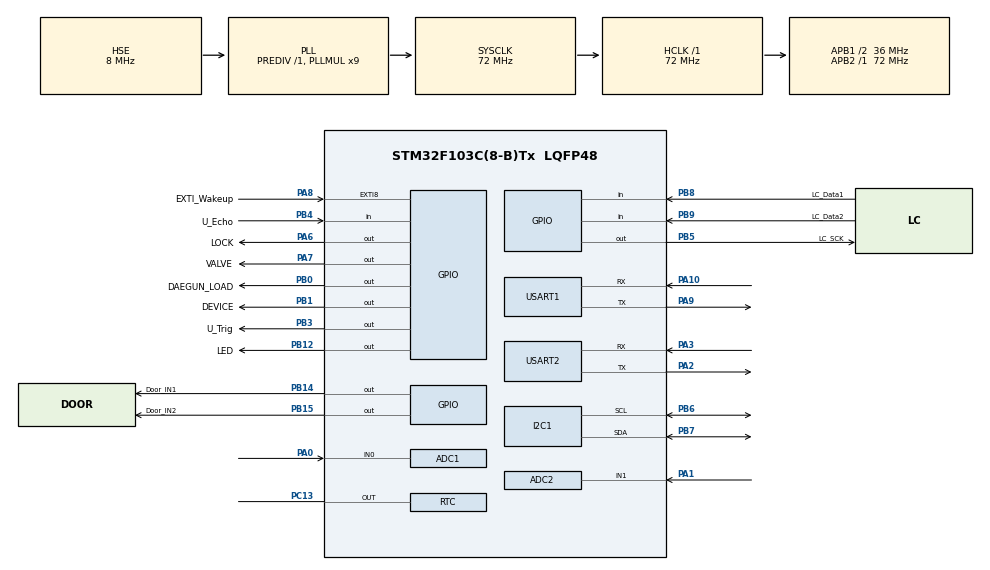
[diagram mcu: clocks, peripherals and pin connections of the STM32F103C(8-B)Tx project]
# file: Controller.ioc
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ADC1.Channel-0\#ChannelRegularConversion=ADC_CHANNEL_0
ADC1.NbrOfConversionFlag=1
ADC1.Rank-0\#ChannelRegularConversion=1
ADC1.SamplingTime-0\#ChannelRegularConversion=ADC_SAMPLETIME_1CYCLE_5
ADC1.master=1
ADC2.Channel-0\#ChannelRegularConversion=ADC_CHANNEL_1
ADC2.NbrOfConversionFlag=1
ADC2.Rank-0\#ChannelRegularConversion=1
ADC2.SamplingTime-0\#ChannelRegularConversion=ADC_SAMPLETIME_1CYCLE_5
I2C1.I2C_Mode=I2C_Fast
Mcu.Family=STM32F1
Mcu.Name=STM32F103C(8-B)Tx
Mcu.Package=LQFP48
NVIC.EXTI9_5_IRQn=true\:0\:0\:false\:false\:true\:true\:true\:true
NVIC.PriorityGroup=NVIC_PRIORITYGROUP_4
NVIC.RTC_Alarm_IRQn=true\:0\:0\:false\:false\:true\:true\:true\:true
NVIC.RTC_IRQn=true\:0\:0\:false\:false\:true\:true\:true\:true
NVIC.USART1_IRQn=true\:0\:0\:false\:false\:true\:true\:true\:true
NVIC.USART2_IRQn=true\:0\:0\:false\:false\:true\:true\:true\:true
PA0-WKUP.Signal=ADCx_IN0
PA1.Signal=ADCx_IN1
PA10.Mode=Asynchronous
PA10.Signal=USART1_RX
PA13.Mode=Serial_Wire
PA13.Signal=SYS_JTMS-SWDIO
PA14.Mode=Serial_Wire
PA14.Signal=SYS_JTCK-SWCLK
PA2.Mode=Asynchronous
PA2.Signal=USART2_TX
PA3.Mode=Asynchronous
PA3.Signal=USART2_RX
PA6.GPIO_Label=LOCK
PA6.GPIO_ModeDefaultOutputPP=GPIO_MODE_OUTPUT_PP
PA6.GPIO_PuPd=GPIO_NOPULL
PA6.PinState=GPIO_PIN_RESET
PA6.Signal=GPIO_Output
PA7.GPIO_Label=VALVE
PA7.GPIO_ModeDefaultOutputPP=GPIO_MODE_OUTPUT_PP
PA7.GPIO_PuPd=GPIO_NOPULL
PA7.PinState=GPIO_PIN_RESET
PA7.Signal=GPIO_Output
PA8.GPIO_Label=EXTI_Wakeup
PA8.Signal=GPXTI8
PA9.Mode=Asynchronous
PA9.Signal=USART1_TX
PB0.GPIO_Label=DAEGUN_LOAD
PB0.GPIO_ModeDefaultOutputPP=GPIO_MODE_OUTPUT_OD
PB0.GPIO_PuPd=GPIO_NOPULL
PB0.PinState=GPIO_PIN_SET
PB0.Signal=GPIO_Output
PB1.GPIO_Label=DEVICE
PB1.GPIO_ModeDefaultOutputPP=GPIO_MODE_OUTPUT_OD
PB1.GPIO_PuPd=GPIO_PULLUP
PB1.PinState=GPIO_PIN_RESET
PB1.Signal=GPIO_Output
PB12.GPIO_Label=LED
PB12.Signal=GPIO_Output
PB14.GPIO_Label=Door_IN1
PB14.Signal=GPIO_Output
PB15.GPIO_Label=Door_IN2
PB15.Signal=GPIO_Output
PB3.GPIO_Label=U_Trig
PB3.Signal=GPIO_Output
PB4.GPIO_Label=U_Echo
PB4.GPIO_PuPd=GPIO_PULLDOWN
PB4.Signal=GPIO_Input
PB5.GPIO_Label=LC_SCK
PB5.Signal=GPIO_Output
PB6.Mode=I2C
PB6.Signal=I2C1_SCL
PB7.Mode=I2C
PB7.Signal=I2C1_SDA
PB8.GPIO_Label=LC_Data1
PB8.GPIO_PuPd=GPIO_PULLUP
PB8.Signal=GPIO_Input
PB9.GPIO_Label=LC_Data2
PB9.GPIO_PuPd=GPIO_PULLUP
PB9.Signal=GPIO_Input
PC13-TAMPER-RTC.Mode=RTC OUT
PC13-TAMPER-RTC.Signal=RTC_OUT
PC14-OSC32_IN.Mode=LSE-External-Oscillator
PC14-OSC32_IN.Signal=RCC_OSC32_IN
PC15-OSC32_OUT.Mode=LSE-External-Oscillator
PC15-OSC32_OUT.Signal=RCC_OSC32_OUT
PD0-OSC_IN.Mode=HSE-External-Oscillator
PD0-OSC_IN.Signal=RCC_OSC_IN
PD1-OSC_OUT.Mode=HSE-External-Oscillator
PD1-OSC_OUT.Signal=RCC_OSC_OUT
ProjectManager.HeapSize=0x200
ProjectManager.StackSize=0x400
ProjectManager.TargetToolchain=STM32CubeIDE
RCC.ADCPresc=RCC_ADCPCLK2_DIV6
RCC.AHBFreq_Value=72000000
RCC.APB1CLKDivider=RCC_HCLK_DIV2
RCC.APB1Freq_Value=36000000
RCC.APB1TimFreq_Value=72000000
RCC.APB2Freq_Value=72000000
RCC.APB2TimFreq_Value=72000000
RCC.HCLKFreq_Value=72000000
RCC.PLLMUL=RCC_PLL_MUL9
RCC.PLLSourceVirtual=RCC_PLLSOURCE_HSE
RCC.RTCClockSelection=RCC_RTCCLKSOURCE_LSE
RCC.SYSCLKFreq_VALUE=72000000
RCC.SYSCLKSource=RCC_SYSCLKSOURCE_PLLCLK
RCC.USBFreq_Value=48000000
RCC.USBPrescaler=RCC_USBCLKSOURCE_PLL_DIV1_5
RTC.Format=RTC_FORMAT_BIN
RTC.Hours_A-RTC\ OUT=12
SH.ADCx_IN0.0=ADC1_IN0,IN0
SH.ADCx_IN1.0=ADC2_IN1,IN1
TIM1.Period=65535-1
TIM1.Prescaler=72-1
USART1.VirtualMode=VM_ASYNC
USART2.VirtualMode=VM_ASYNC
VP_RTC_VS_RTC_Activate.Mode=RTC_Enabled
VP_RTC_VS_RTC_Calendar.Mode=RTC_Calendar
VP_TIM1_VS_ClockSourceINT.Mode=Internal
board=custom

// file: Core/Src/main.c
/* USER CODE BEGIN Header */
/**
  ******************************************************************************
  * @file           : main.c
  * @brief          : Main program body
  ******************************************************************************
  * @attention
  *
  * Copyright (c) 2025 STMicroelectronics.
  * All rights reserved.
  *
  * This software is licensed under terms that can be found in the LICENSE file
  * in the root directory of this software component.
  * If no LICENSE file comes with this software, it is provided AS-IS.
  *
  ******************************************************************************
  */
/* USER CODE END Header */
#include "main.h"

/* USER CODE BEGIN Includes */
/* CDC set  up */
//#include "usbd_cdc_if.h"
/* USER CODE END Includes */

/* USER CODE BEGIN PTD */

// Receive buffer
RTC_AlarmTypeDef sAlarm = {0};
RTC_TimeTypeDef sTime = {0};

uint8_t LOG_buffer[UART_RX_BUFFER_SIZE];
// Sending buffer
char log_msg[UART_RX_BUFFER_SIZE];
volatile bool LOG_DataValid = false;

//Wake up
volatile bool EXTI_Wakeup = false;
volatile bool Alarm_Wakeup = false;
volatile bool flag_EXTI = false;
//POST PhoneNum
char PhoneNum[20];

//Data SIM, id
const char ID[] = "testmachine";
const char countryDialCode[] = "+84";
const char url_postper[] = "https://api.admin.bi-oil.app/postcontainer";
const char url_identity[] = "https://api.admin.bi-oil.app/identity";
const char url_postuco[] = "https://api.admin.bi-oil.app/postuco";
static char data_PostSimCom[150];

//Data herder
char data_TransmitHeader[100];

//Value water and oil
float volume_water; //(Liter)
float volume_oil;   //(Liter)

//Volume on container and battery
float value_VolContainer; // (%)
float value_Voltage;	  // (V)

float distance_Tof = -1.0f;
float value_LoadCell_open = -1.0f;
float value_LoadCell_close = -1.0f;
float value_LoadCell_real = -1.0f;

float water_weight = -1;
float oil_weight = -1;
float watersensor_value = -1;
float volume_total = -1.0f;
//float volume_WS = -1.0f;
/////
char data_Ok[] = "OK";
char data_Fail[] = "FAIL";
char data_Oil_Water[] = "O1.23W4.56E";
const char* data_Post = "{\"volume\": 123,\"battery\": 456}";

typedef enum {
	HANDSHAKE,
	VALIDATION,
	POST_UCO,
	POST_PER,
	OPEN_INPUT,
	CLOSE_INPUT,
	UNLOCK_DOOR,
	SLEEP,
	ALARM_WAKEUP,
	EXTI_WAKEUP,
	OPEN_VALVE,
	CLOSE_VALVE,
	TURN_OFF,
	TEST_PERCENT,
	TEST_MEASURE,
	TEST_SDCLOSE,
	TEST_SDOPEN,
	SPACE
} Msg_Header;

typedef enum {
	ERR_SIMCOM,
	ERR_ULTRA,
	ERR_TOF,
	ERR_LOADCELL
} Err_Device;

Msg_Header FUNCTION;

//typedef enum {
//	IDLE,			// Run without doing anything and not sleep
//	INIT,			// Initiate peripheral and handshake
//	VALID,			// Check if user is valid or not QR and NUM input, Update number or QR, machine id to the server
//	OPENS,			// Open small door
//	POSTPER,		// Update the container percentage
//	CLOSES,			// Close the door and start the measuring process
//	POSTDATA,		// Update the user id, input amount and machine if to the server
//	SLEEP,			// Sleep allowance and go to sleep
//	ALARM,			// Display update and stop user from using machine
//} command;

/* USER CODE END PTD */

ADC_HandleTypeDef hadc1;
ADC_HandleTypeDef hadc2;

I2C_HandleTypeDef hi2c1;

RTC_HandleTypeDef hrtc;

TIM_HandleTypeDef htim1;

UART_HandleTypeDef huart1;
UART_HandleTypeDef huart2;

void SystemClock_Config(void);
static void MX_GPIO_Init(void);
static void MX_I2C1_Init(void);
static void MX_USART1_UART_Init(void);
static void MX_USART2_UART_Init(void);
static void MX_TIM1_Init(void);
static void MX_ADC1_Init(void);
static void MX_ADC2_Init(void);
static void MX_RTC_Init(void);

/* USER CODE BEGIN 0 */
void CheckHeader(void){
  //echo response for ack
  LOG("[ANS]","ACK");
	if(strstr((char *)LOG_buffer, "[CMD]HANDSHAKE")) {
		FUNCTION = HANDSHAKE;
	}
	else if(strstr((char *)LOG_buffer, "[VALID]") && strstr((char *)LOG_buffer, "ENDSTR")) {
		FUNCTION = VALIDATION;
	}
	else if(strstr((char *)LOG_buffer, "[CMD]OPENS")) {
		FUNCTION = OPEN_INPUT;
	}
	else if(strstr((char *)LOG_buffer, "[CMD]CLOSES")) {
		FUNCTION = CLOSE_INPUT;
	}
	else if(strstr((char *)LOG_buffer, "[CMD]POSTPER")) {
		FUNCTION = POST_PER;
	}
	else if(strstr((char *)LOG_buffer, "[CMD]POSTDATA")){
		FUNCTION = POST_UCO;
	}
	else if(strstr((char *)LOG_buffer, "[CMD]OPENB")) {
		FUNCTION = UNLOCK_DOOR;
	}
	else if(strstr((char *)LOG_buffer, "[CMD]SLEEP")) {
		FUNCTION = SLEEP;
	}
	else if(strstr((char *)LOG_buffer, "[CMD]CLOSEV")) {
		FUNCTION = CLOSE_VALVE;
	}
	else if(strstr((char *)LOG_buffer, "[CMD]OPENV")) {
		FUNCTION = OPEN_VALVE;
	}
	else if(strstr((char *)LOG_buffer, "[CMD]OFF")) {
		FUNCTION = TURN_OFF;
	}////////////////////////////////////////////////////////
	else if(strstr((char *)LOG_buffer, "[TEST]PERCENT")) {
		FUNCTION = TEST_PERCENT;
	}
	else if(strstr((char *)LOG_buffer, "[TEST]MEASURE")) {
		FUNCTION = TEST_MEASURE;
	}
	else if(strstr((char *)LOG_buffer, "[TEST]SDCLOSE")) {
		FUNCTION = TEST_SDCLOSE;
	}
	else if(strstr((char *)LOG_buffer, "[TEST]SDOPEN")) {
		FUNCTION = TEST_SDOPEN;
	}
	LOG_DataValid = false;
}

HAL_StatusTypeDef LOG(const char* header,const char *cmd){
	memset(log_msg,'\0',UART_RX_BUFFER_SIZE);
	strcpy(log_msg, header);
	strcat(log_msg, cmd);
	strcat(log_msg, "#");
	HAL_UART_Transmit(&huart1, (uint8_t*)log_msg, strlen(log_msg), 50);
	// CDC_Transmit_FS((uint8_t *)log_msg, strlen(log_msg));
	return HAL_OK;
}

/* Check command function */
//command CheckCommand(void){
//	//check if the data have some thing
//	if(LOG_DataValid){
//		LOG_DataValid = false;
//		if(strstr((char *)LOG_buffer, "HANDSHAKE")){
//			return INIT;
//		} else if(strstr((char *)LOG_buffer, "[VALID]")){
//			//take out number or QR
//			return VALID;
//		} else if(strstr((char *)LOG_buffer, "OPENS")){
//			return OPENS;
//		} else if(strstr((char *)LOG_buffer, "POSTPER")){
//			return POSTPER;
//		} else if(strstr((char *)LOG_buffer, "CLOSES")){
//			return CLOSES;
//		} else if(strstr((char *)LOG_buffer, "POSTDATA")){
//			return POSTDATA;
//		} else if(strstr((char *)LOG_buffer, "SLEEP")){
//			return SLEEP;
//		}
//	} else return IDLE;
//	//check rtc flag
//}

float VolumeTotal(float h) {
    float R = 12.5;
    float r = 2.0;
    float H_cone = 8.0;
    float H_cylinder = 8.0;
    float H_total = H_cone + H_cylinder;

    if (h < 0 || h > H_total) {
        return -1.0;
    }
    if (h <= H_cone) {
    	float r_h = r + ((R - r) / H_cone) * h;
        return (1.0 / 3.0) * 3.14 * h * (r_h * r_h + r_h * r + r * r);

    } else {
    	float V_cone_full = (1.0 / 3.0) * 3.14 * H_cone * (R * R + R * r + r * r);
    	float h_cylinder_part = h - H_cone;
    	float V_cylinder_part = 3.14 * R * R * h_cylinder_part;
        return (V_cone_full + V_cylinder_part)/1000; //liter unit
    }
}
/* USER CODE END 0 */

int main(void)
{

  /* MCU Configuration--------------------------------------------------------*/

  /* Reset of all peripherals, Initializes the Flash interface and the Systick. */
  HAL_Init();

  /* Configure the system clock */
  SystemClock_Config();

  /* Initialize all configured peripherals */
  MX_GPIO_Init();
  MX_I2C1_Init();
  MX_USART1_UART_Init();
  MX_USART2_UART_Init();
  MX_TIM1_Init();
  MX_ADC1_Init();
  MX_ADC2_Init();
  MX_RTC_Init();
  /* USER CODE BEGIN 2 */
  HAL_UARTEx_ReceiveToIdle_IT(&huart1, LOG_buffer, UART_RX_BUFFER_SIZE);
  HAL_UARTEx_ReceiveToIdle_IT(&huart2, SIM_buffer, UART_RX_BUFFER_SIZE);
  WATER_InitDefault(&hi2c1);     // Water sensor driver init
  //TOF SENSOR
  statInfo_t_VL53L0X distanceStr;
  initVL53L0X(1, &hi2c1);
  uint16_t offset_DistanceTof = VL53L0X_OFFSET(&distanceStr);

  //Ultrasonic
  HAL_TIM_Base_Start(&htim1);

  // Load cellHA
  HX711_t scale1;
  HX711_t scale2;
  float calibration_factor = 200.0f;

  //Voltage
  HAL_ADC_Start(&hadc1);
  HAL_ADC_Start(&hadc2);

  //Setup
  FUNCTION = SPACE;
//  HAL_Delay(3000);
  HAL_GPIO_WritePin(LED_GPIO_Port, LED_Pin, GPIO_PIN_SET); //Turn on led
  HAL_GPIO_WritePin(DEVICE_GPIO_Port, DEVICE_Pin, GPIO_PIN_SET);
  LOG("[DEBUG]","STM32 OK!");
  SIM_Sleep(3000);
  /* USER CODE END 2 */

  /* Infinite loop */
  while (1)
  {

    /* USER CODE BEGIN 3 */
	  if(LOG_DataValid){
//		LOG("[ECHO]",(char*)LOG_buffer);				//Echo message for testing only
		  /* Change the stage when command come in */
		  CheckHeader();
		  switch (FUNCTION) {
			  case HANDSHAKE:
        //for defbug and fail device checking
          uint16_t error_code = 0;
          char error_code_char[10];

				  HAL_GPIO_WritePin(DEVICE_GPIO_Port, DEVICE_Pin, GPIO_PIN_RESET); //Turn on sensor
				  initVL53L0X(1, &hi2c1);
				  HX711_Init(&scale1, LC_Data1_GPIO_Port, LC_Data1_Pin, LC_SCK_GPIO_Port, LC_SCK_Pin, calibration_factor);
				  HX711_Init(&scale2, LC_Data2_GPIO_Port, LC_Data2_Pin, LC_SCK_GPIO_Port, LC_SCK_Pin, calibration_factor);

				  if (SIM_Wakeup(3000) != 0) {
					  error_code += 1;
				  }
				  if (VL53L0X_OFFSET(&distanceStr) == -1.0f) {
					  error_code += 10;
				  }
				  if (Ultra_ReadDistance() == -1.0f) {
					  error_code += 100;
				  }
				  if((Ultra_ReadDistance() <= 20.0) && (Ultra_ReadDistance() >= 0)) {
					  LOG("[ANS]", "FULL");
				  }
				  if ((HX711_Tare(&scale1, 10, 2000) == -1.0f) || (HX711_Tare(&scale2, 10, 2000) == -1.0f)) {
					  error_code += 1000;
				  }
				  if (error_code == 0) {
					  LOG("[ANS]", "OK");
				  }else{
					  snprintf(error_code_char, sizeof(error_code_char), "%d", error_code);

					  LOG("[ANS]", "FAIL");
					  LOG("[DEBUG]", error_code_char);
					  error_code = 0;
				  }

				  SIM_Sleep(3000);
				  FUNCTION = SPACE;
				  break;

			  case VALIDATION:
				  memset(PhoneNum,'\0',20);
				  memset(data_PostSimCom,'\0',sizeof(data_PostSimCom));
				  //Prepare data
				  char* start_PhoneNum = strstr((char *)LOG_buffer, "[VALID]") + 7;
				  char* end_PhoneNum = strstr((char *)LOG_buffer, "ENDSTR");
				  strncpy(PhoneNum, start_PhoneNum, end_PhoneNum - start_PhoneNum);
				  snprintf(data_PostSimCom, sizeof(data_PostSimCom),
						  "{\"phoneNumber\":\"%s\",\"countryDialCode\":\"%s\",\"machineId\":\"%s\"}\r",
						  PhoneNum, countryDialCode, ID);
				  // LOG("DEBUG", data_PostSimCom);
				  //SIM_post
				  if (SIM_Wakeup(3000)){
					  LOG("[ANS]", "FAIL");
				  }
				  if (!SIMCom_Post(data_PostSimCom, url_identity, 5000)) {
					  //LOG("[DEBUG]",(char*)SIM_data);
					  /* User case */
					  // User have  signed in
					  if (strstr((char*)SIM_data, "\"driver\":false")) LOG("[ANS]","OK");
					  // User have not signed in
					  else if (strstr((char*)SIM_data, "\"message\":\"no user found\"")) LOG("[ANS]","REJECT");
//					  /* Driver case */
					  // driver was allow
					  else if (strstr((char*)SIM_data, "\"driver\":true")) LOG("[ANS]", "DRIVER:TRUE");
					  // driver was not allow
					  else if (strstr((char*)SIM_data, "\"message\":\"not permitted\"")) LOG("[ANS]", "DRIVER:FALSE");
					  // User case
					  else LOG("[ANS]", "FAIL");
				  }
				  SIM_Sleep(3000);
				  FUNCTION = SPACE;
				  break;

			  case POST_UCO:
				  memset(data_PostSimCom,'\0',sizeof(data_PostSimCom));
				  //prepare data
				  snprintf(data_PostSimCom, sizeof(data_PostSimCom),
						  "{\"phoneNumber\": \"%s\", \"countryDialCode\": \"%s\", \"machineId\": \"%s\", \"oil\": %.2f, \"water\": %.2f}\r",
						  PhoneNum, countryDialCode, ID, oil_weight, water_weight);
				  // LOG("DEBUG", data_PostSimCom);
				  //SIM_post
				  if (SIM_Wakeup(3000)){
					  LOG("[ANS]", "FAIL");
				  }
				  if(!SIMCom_Post(data_PostSimCom, url_postuco, 5000)) {
					  if (strstr((char *)SIM_data, "true")) {
						  LOG("[ANS]", "OK");
					  }
					  else if (strstr((char *)SIM_data, "false")) {
						  LOG("[ANS]", "REJECT");
					  }
					  else {
						  LOG("[ANS]", "UNDEFINE");
					  }
				  }
				  else {
					  LOG("[ANS]", "FAIL");
				  }
				  SIM_Sleep(3000);
				  FUNCTION = SPACE;
				  break;
			  case POST_PER:
				  memset(data_PostSimCom,'\0',sizeof(data_PostSimCom));
				  //Prepare data
				  value_VolContainer = Ultra_ReadDistance();
				  value_Voltage = Read_Voltage();
				  //Prepare data
				  snprintf(data_PostSimCom, sizeof(data_PostSimCom),
						  "{\"machineId\": \"%s\", \"volume\": %.2f, \"battery\": %.2f}\r",
						  ID, value_VolContainer, value_Voltage);
				  // LOG("DEBUG", data_PostSimCom);
				  //SIM_post
				  if (SIM_Wakeup(3000)){
					  LOG("[ANS]", "FAIL");
				  }
				  if (!SIMCom_Post(data_PostSimCom, url_postper, 5000)) {
					  if (strstr((char *)SIM_data, "true")) {
						  LOG("[ANS]", "OK");
					  }
					  else if (strstr((char *)SIM_data, "false")) {
						  LOG("[ANS]", "REJECT");
					  }
					  else {
						  LOG("[ANS]", "UNDEFINE");
					  }
				  } else {
					  LOG("[ANS]", "FAIL");
				  }
				  SIM_Sleep(3000);
				  FUNCTION = SPACE;
				  break;

			  case OPEN_INPUT:
				  /*Control motor*/
				  HAL_GPIO_WritePin(Door_IN1_GPIO_Port, Door_IN1_Pin, GPIO_PIN_SET);
				  HAL_GPIO_WritePin(Door_IN2_GPIO_Port, Door_IN2_Pin, GPIO_PIN_RESET);
				  /*Close valve*/
				  HAL_GPIO_WritePin(VALVE_GPIO_Port, VALVE_Pin, GPIO_PIN_SET);
				  /*Transmit to header*/
				  value_LoadCell_open  = HX711_Get_CombinedMass(&scale1, &scale2, 10, 2000);
				  LOG("[ANS]", "OK");
				  snprintf(data_TransmitHeader, sizeof(data_TransmitHeader), "value_LoadCell_open = %f", value_LoadCell_open);
				  FUNCTION = SPACE;
				  break;
			  case CLOSE_INPUT:
				  /*Control motor*/
				  HAL_GPIO_WritePin(Door_IN1_GPIO_Port, Door_IN1_Pin, GPIO_PIN_RESET);
				  HAL_GPIO_WritePin(Door_IN2_GPIO_Port, Door_IN2_Pin, GPIO_PIN_SET);

				  /*Take value from sensor*/
				  // load cell and tof sensor
				  distance_Tof = VL53L0X_ReadDistance(&distanceStr, offset_DistanceTof); //(mm)
				  value_LoadCell_close = HX711_Get_CombinedMass(&scale1, &scale2, 10, 2000);
				  // water sensor
				  value_LoadCell_real = value_LoadCell_close - value_LoadCell_open;
				  watersensor_value = WATER_ReadHeightMM(220);   //(mm)
				  water_weight = WATER_ReadLastOn(220);     //last_on index
				  /*Turn off the sensor*/
				  HAL_GPIO_WritePin(DEVICE_GPIO_Port, DEVICE_Pin, GPIO_PIN_SET);
				  /*Calculating*/
//				  volume_WS = VolumeTotal(water_weight*5) + 0.025f;
//				  volume_total = VolumeTotal(16 - (distance_Tof / 10)); //liter unit
//				  volume_oil = (volume_total - value_LoadCell) / 0.085; //l iter unit
//				  volume_water = volume_total - volume_oil;
				  //Transmit to header
				  oil_weight = value_LoadCell_real - water_weight;
				  memset(data_TransmitHeader,'\0',sizeof(data_TransmitHeader));
				  snprintf(data_TransmitHeader, 40, "O%.2fW%.2fE", oil_weight, water_weight);
				  LOG("[ANS]", data_TransmitHeader);
				  // debug for water sensor
//				  if (watersensor_value < 0) {
//					  snprintf(data_TransmitHeader, sizeof(data_TransmitHeader), "WS_Value=%.2f ml", volume_WS);
//					  LOG("[DEBUG]", data_TransmitHeader);
//				  }
				  FUNCTION = SPACE;
				  break;
			  case UNLOCK_DOOR:
          /* unlock big door for driver */
				  HAL_GPIO_WritePin(LOCK_GPIO_Port, LOCK_Pin, GPIO_PIN_SET);
				  HAL_Delay(500);
				  HAL_GPIO_WritePin(LOCK_GPIO_Port, LOCK_Pin, GPIO_PIN_RESET);
				  /*Transmit to header*/
				  LOG("[ANS]", "OK");
				  FUNCTION = SPACE;
				  break;
			  case SLEEP:
				  //Turn off device
				  HAL_GPIO_WritePin(DEVICE_GPIO_Port, DEVICE_Pin, GPIO_PIN_SET);      //Turn off sensor source
				  HAL_GPIO_WritePin(LED_GPIO_Port, LED_Pin, GPIO_PIN_RESET);          //Turn off the led
				  HAL_ADC_DeInit(&hadc1);
				  HAL_ADC_DeInit(&hadc2);

				  HAL_GPIO_DeInit(LOCK_GPIO_Port, LOCK_Pin);
				  HAL_GPIO_DeInit(VALVE_GPIO_Port, VALVE_Pin);
				  HAL_GPIO_DeInit(DAEGUN_LOAD_GPIO_Port, DAEGUN_LOAD_Pin);
				  //HAL_GPIO_DeInit(DEVICE_GPIO_Port, DEVICE_Pin);
				  HAL_GPIO_DeInit(LED_GPIO_Port, LED_Pin);
				  HAL_GPIO_DeInit(Door_IN1_GPIO_Port, Door_IN1_Pin);
				  HAL_GPIO_DeInit(Door_IN2_GPIO_Port, Door_IN2_Pin);
				  HAL_GPIO_DeInit(U_Trig_GPIO_Port, U_Trig_Pin);
				  HAL_GPIO_DeInit(U_Echo_GPIO_Port, U_Echo_Pin);
				  HAL_GPIO_DeInit(LC_SCK_GPIO_Port, LC_SCK_Pin);
				  HAL_GPIO_DeInit(LC_Data1_GPIO_Port, LC_Data1_Pin);
				  HAL_GPIO_DeInit(LC_Data2_GPIO_Port, LC_Data2_Pin);
				  HAL_I2C_DeInit(&hi2c1);
				  //Transmit to header
				  flag_EXTI = true;
				  LOG("[ANS]", "STM_SLEEP");
				  //Sleep
				  HAL_SuspendTick();
				  HAL_PWR_EnterSTOPMode(PWR_LOWPOWERREGULATOR_ON, PWR_STOPENTRY_WFI);
				  /* NEXT WAKEUP START HERE */
				  HAL_ResumeTick();
				  /* Start up peripheral device */
				  SystemClock_Config();
				  MX_USART1_UART_Init();
				  MX_USART2_UART_Init();
				  /* Start uart receive end */
				  HAL_UARTEx_ReceiveToIdle_IT(&huart1, LOG_buffer, UART_RX_BUFFER_SIZE);
				  HAL_UARTEx_ReceiveToIdle_IT(&huart2, SIM_buffer, UART_RX_BUFFER_SIZE);
				  /* Start up communication protocol */
				  MX_ADC1_Init();
				  MX_ADC2_Init();
				  MX_GPIO_Init();
				  MX_I2C1_Init();
				  /* Disable wake up flag */
				  flag_EXTI = false;
				  LOG("[ANS]", "STM_WAKE_UP");
				  HAL_GPIO_WritePin(LED_GPIO_Port, LED_Pin, GPIO_PIN_SET); //Turn on the led
				  break;
			  case ALARM_WAKEUP:
				  uint16_t error_code1 = 0;
				  LOG("[CMD]", "UPDATE");
				  HAL_GPIO_WritePin(DEVICE_GPIO_Port, DEVICE_Pin, GPIO_PIN_RESET); //Turn on sensor

				  initVL53L0X(1, &hi2c1);
				  HX711_Init(&scale1, LC_Data1_GPIO_Port, LC_Data1_Pin, LC_SCK_GPIO_Port, LC_SCK_Pin, calibration_factor);
				  HX711_Init(&scale2, LC_Data2_GPIO_Port, LC_Data2_Pin, LC_SCK_GPIO_Port, LC_SCK_Pin, calibration_factor);

				  if (SIM_Wakeup(3000) != 0) {
					  error_code1 += 1;
				  }
				  if (VL53L0X_OFFSET(&distanceStr) == -1.0f) {
					  error_code1 += 10;
				  }
				  if (Ultra_ReadDistance() == -1.0f) {
					  error_code1 += 100;
				  }
				  if ((HX711_Tare(&scale1, 10, 2000) == -1.0f) || (HX711_Tare(&scale2, 10, 2000) == -1.0f)) {
					  error_code1 += 1000;
				  }
				  //Prepare data
				  value_VolContainer = Ultra_ReadDistance();
				  value_Voltage = Read_Voltage();
				  //Prepare data
				  snprintf(data_PostSimCom, sizeof(data_PostSimCom),
						  "{\"machineId\": \"%s\", \"volume\": %.2f, \"battery\": %.2f}\r",
						  ID, value_VolContainer, value_Voltage);
				  // LOG("DEBUG", data_PostSimCom);
				  //SIM_post
				  if (SIM_Wakeup(3000)){
					  LOG("[ANS]", "FAIL");
				  }
				  if (!SIMCom_Post(data_PostSimCom, url_postper, 5000)) {
					  if (strstr((char *)SIM_data, "true")) {
						  LOG("[ANS]", "OK");
					  }
					  else if (strstr((char *)SIM_data, "false")) {
						  LOG("[ANS]", "REJECT");
					  }
					  else {
						  LOG("[ANS]", "UNDEFINE");
					  }
				  } else {
					  LOG("[ANS]", "FAIL");
				  }
				  SIM_Sleep(3000);
				  LOG("[ANS]", "DONE");
				  FUNCTION = SLEEP;
				  break;
			  case EXTI_WAKEUP:
				  LOG("[ANS]", "EXTI_WAKEUP");
				  FUNCTION = SPACE;
				  break;
			  case CLOSE_VALVE:
				  LOG("[ANS]", "CLOSE_VALVE");
				  HAL_GPIO_WritePin(VALVE_GPIO_Port, VALVE_Pin, GPIO_PIN_SET);
				  FUNCTION = SPACE;
				  break;
			  case OPEN_VALVE:
				  LOG("[ANS]", "OPEN_VALVE");
				  HAL_GPIO_WritePin(VALVE_GPIO_Port, VALVE_Pin, GPIO_PIN_RESET);
				  FUNCTION = SPACE;
				  break;
			  case TURN_OFF:
				  LOG("[ANS]", "TURN_OFF_MOTOR_DOOR");
				  HAL_GPIO_WritePin(Door_IN1_GPIO_Port, Door_IN1_Pin, GPIO_PIN_RESET);
				  HAL_GPIO_WritePin(Door_IN2_GPIO_Port, Door_IN2_Pin, GPIO_PIN_RESET);
				  HAL_GPIO_WritePin(DEVICE_GPIO_Port, DEVICE_Pin, GPIO_PIN_SET); //Turn off sensor source
				  FUNCTION = SPACE;
				  break;
			  case TEST_PERCENT:
				  value_VolContainer = Ultra_ReadDistance();
				  value_Voltage = Read_Voltage();
				  //Prepare data
				  snprintf(data_PostSimCom, sizeof(data_PostSimCom), "{\"volume\": %.2f,\"battery\": %.2f}", value_VolContainer, value_Voltage);
				  //SIM_post
				  LOG("TEST", data_PostSimCom);

				  FUNCTION = SPACE;
				  break;
			  case TEST_MEASURE:
				  //Turn on the sensor
				  HAL_GPIO_WritePin(DEVICE_GPIO_Port, DEVICE_Pin, GPIO_PIN_RESET);
				  HAL_Delay(500);
				  //Take value from sensor
				  distance_Tof = VL53L0X_ReadDistance(&distanceStr, offset_DistanceTof); //(mm)
				  value_LoadCell_open  = HX711_Get_CombinedMass(&scale1, &scale2, 10, 2000);
				  value_LoadCell_close = HX711_Get_CombinedMass(&scale1, &scale2, 10, 2000);
				  float loadcell_1 = HX711_Get_Value(&scale1, 10, 2000);
				  float loadcell_2 = HX711_Get_Value(&scale2, 10, 2000);
				  // water sensor
//				  watersensor_value = WATER_ReadHeightMM(220);   //(mm)//
				  water_weight = WATER_ReadLastOn(220);     //last_on index
				  //Turn off the sensor
				  HAL_GPIO_WritePin(DEVICE_GPIO_Port, DEVICE_Pin, GPIO_PIN_SET);
				  //Calculate
//				  volume_WS = VolumeTotal(water_weight*5) + 0.025f;
//				  volume_total = VolumeTotal(16 - (distance_Tof / 10)); //liter unit
//				  volume_oil = (volume_total - value_LoadCell) / 0.085; //liter unit
//				  volume_water = volume_total - volume_oil;
				  //Transmit to header
//				  snprintf(data_TransmitHeader, sizeof(data_TransmitHeader), "O%.2fW%.2fE", volume_oil, volume_water);
				  snprintf(data_TransmitHeader, sizeof(data_TransmitHeader), "Distance = %.2f mm, LoadCell_1 = %.2f g, LoadCell_2 = %.2f g;", distance_Tof, loadcell_1, loadcell_2);
				  LOG("[ANS]", data_TransmitHeader);
				  snprintf(data_TransmitHeader, sizeof(data_TransmitHeader), "LoadCell_open = %.2f g, LoadCell_close = %.2f g;", value_LoadCell_open, value_LoadCell_close);
				  LOG("[ANS]", data_TransmitHeader);
				  // debug for water sensor
				  snprintf(data_TransmitHeader, sizeof(data_TransmitHeader), "WS_Weight = %f", water_weight);
				  LOG("[DEBUG]", data_TransmitHeader);
				  FUNCTION = SPACE;
				  break;
			  case TEST_SDCLOSE:
				  //Control motor
				  HAL_GPIO_WritePin(Door_IN1_GPIO_Port, Door_IN1_Pin, GPIO_PIN_RESET);
				  HAL_GPIO_WritePin(Door_IN2_GPIO_Port, Door_IN2_Pin, GPIO_PIN_SET);
				  //Transmit to header
				  LOG("[ANS]", "OK");
				  FUNCTION = SPACE;
				  break;
			  case TEST_SDOPEN:
				  //Control motor
				  HAL_GPIO_WritePin(Door_IN1_GPIO_Port, Door_IN1_Pin, GPIO_PIN_SET);
				  HAL_GPIO_WritePin(Door_IN2_GPIO_Port, Door_IN2_Pin, GPIO_PIN_RESET);
				  //Transmit to header
				  LOG("[ANS]", "OK");
				  FUNCTION = SPACE;
				  break;
			  case SPACE:
				  break;
		  }
		  memset(LOG_buffer,'\0',UART_RX_BUFFER_SIZE);		//reset receive buffer
	  }
  }
  /* USER CODE END 3 */
}

void SystemClock_Config(void)
{
  RCC_OscInitTypeDef RCC_OscInitStruct = {0};
  RCC_ClkInitTypeDef RCC_ClkInitStruct = {0};
  RCC_PeriphCLKInitTypeDef PeriphClkInit = {0};

  /** Initializes the RCC Oscillators according to the specified parameters
  * in the RCC_OscInitTypeDef structure.
  */
  RCC_OscInitStruct.OscillatorType = RCC_OSCILLATORTYPE_HSE|RCC_OSCILLATORTYPE_LSE;
  RCC_OscInitStruct.HSEState = RCC_HSE_ON;
  RCC_OscInitStruct.HSEPredivValue = RCC_HSE_PREDIV_DIV1;
  RCC_OscInitStruct.LSEState = RCC_LSE_ON;
  RCC_OscInitStruct.HSIState = RCC_HSI_ON;
  RCC_OscInitStruct.PLL.PLLState = RCC_PLL_ON;
  RCC_OscInitStruct.PLL.PLLSource = RCC_PLLSOURCE_HSE;
  RCC_OscInitStruct.PLL.PLLMUL = RCC_PLL_MUL9;
  if (HAL_RCC_OscConfig(&RCC_OscInitStruct) != HAL_OK)
  {
    Error_Handler();
  }

  /** Initializes the CPU, AHB and APB buses clocks
  */
  RCC_ClkInitStruct.ClockType = RCC_CLOCKTYPE_HCLK|RCC_CLOCKTYPE_SYSCLK
                              |RCC_CLOCKTYPE_PCLK1|RCC_CLOCKTYPE_PCLK2;
  RCC_ClkInitStruct.SYSCLKSource = RCC_SYSCLKSOURCE_PLLCLK;
  RCC_ClkInitStruct.AHBCLKDivider = RCC_SYSCLK_DIV1;
  RCC_ClkInitStruct.APB1CLKDivider = RCC_HCLK_DIV2;
  RCC_ClkInitStruct.APB2CLKDivider = RCC_HCLK_DIV1;

  if (HAL_RCC_ClockConfig(&RCC_ClkInitStruct, FLASH_LATENCY_2) != HAL_OK)
  {
    Error_Handler();
  }
  PeriphClkInit.PeriphClockSelection = RCC_PERIPHCLK_RTC|RCC_PERIPHCLK_ADC;
  PeriphClkInit.RTCClockSelection = RCC_RTCCLKSOURCE_LSE;
  PeriphClkInit.AdcClockSelection = RCC_ADCPCLK2_DIV6;
  if (HAL_RCCEx_PeriphCLKConfig(&PeriphClkInit) != HAL_OK)
  {
    Error_Handler();
  }
}

static void MX_ADC1_Init(void)
{

  ADC_ChannelConfTypeDef sConfig = {0};

  /** Common config
  */
  hadc1.Instance = ADC1;
  hadc1.Init.ScanConvMode = ADC_SCAN_DISABLE;
  hadc1.Init.ContinuousConvMode = DISABLE;
  hadc1.Init.DiscontinuousConvMode = DISABLE;
  hadc1.Init.ExternalTrigConv = ADC_SOFTWARE_START;
  hadc1.Init.DataAlign = ADC_DATAALIGN_RIGHT;
  hadc1.Init.NbrOfConversion = 1;
  if (HAL_ADC_Init(&hadc1) != HAL_OK)
  {
    Error_Handler();
  }

  /** Configure Regular Channel
  */
  sConfig.Channel = ADC_CHANNEL_0;
  sConfig.Rank = ADC_REGULAR_RANK_1;
  sConfig.SamplingTime = ADC_SAMPLETIME_1CYCLE_5;
  if (HAL_ADC_ConfigChannel(&hadc1, &sConfig) != HAL_OK)
  {
    Error_Handler();
  }

}

static void MX_ADC2_Init(void)
{

  ADC_ChannelConfTypeDef sConfig = {0};

  /** Common config
  */
  hadc2.Instance = ADC2;
  hadc2.Init.ScanConvMode = ADC_SCAN_DISABLE;
  hadc2.Init.ContinuousConvMode = DISABLE;
  hadc2.Init.DiscontinuousConvMode = DISABLE;
  hadc2.Init.ExternalTrigConv = ADC_SOFTWARE_START;
  hadc2.Init.DataAlign = ADC_DATAALIGN_RIGHT;
  hadc2.Init.NbrOfConversion = 1;
  if (HAL_ADC_Init(&hadc2) != HAL_OK)
  {
    Error_Handler();
  }

  /** Configure Regular Channel
  */
  sConfig.Channel = ADC_CHANNEL_1;
  sConfig.Rank = ADC_REGULAR_RANK_1;
  sConfig.SamplingTime = ADC_SAMPLETIME_1CYCLE_5;
  if (HAL_ADC_ConfigChannel(&hadc2, &sConfig) != HAL_OK)
  {
    Error_Handler();
  }

}

static void MX_I2C1_Init(void)
{

  hi2c1.Instance = I2C1;
  hi2c1.Init.ClockSpeed = 400000;
  hi2c1.Init.DutyCycle = I2C_DUTYCYCLE_2;
  hi2c1.Init.OwnAddress1 = 0;
  hi2c1.Init.AddressingMode = I2C_ADDRESSINGMODE_7BIT;
  hi2c1.Init.DualAddressMode = I2C_DUALADDRESS_DISABLE;
  hi2c1.Init.OwnAddress2 = 0;
  hi2c1.Init.GeneralCallMode = I2C_GENERALCALL_DISABLE;
  hi2c1.Init.NoStretchMode = I2C_NOSTRETCH_DISABLE;
  if (HAL_I2C_Init(&hi2c1) != HAL_OK)
  {
    Error_Handler();
  }

}

static void MX_RTC_Init(void)
{

  RTC_TimeTypeDef sTime = {0};
  RTC_DateTypeDef DateToUpdate = {0};
  RTC_AlarmTypeDef sAlarm = {0};

  /** Initialize RTC Only
  */
  hrtc.Instance = RTC;
  hrtc.Init.AsynchPrediv = RTC_AUTO_1_SECOND;
  hrtc.Init.OutPut = RTC_OUTPUTSOURCE_ALARM;
  if (HAL_RTC_Init(&hrtc) != HAL_OK)
  {
    Error_Handler();
  }

  /** Initialize RTC and set the Time and Date
  */
  sTime.Hours = 0;
  sTime.Minutes = 0;
  sTime.Seconds = 0;

  if (HAL_RTC_SetTime(&hrtc, &sTime, RTC_FORMAT_BIN) != HAL_OK)
  {
    Error_Handler();
  }
  DateToUpdate.WeekDay = RTC_WEEKDAY_MONDAY;
  DateToUpdate.Month = RTC_MONTH_JANUARY;
  DateToUpdate.Date = 1;
  DateToUpdate.Year = 0;

  if (HAL_RTC_SetDate(&hrtc, &DateToUpdate, RTC_FORMAT_BIN) != HAL_OK)
  {
    Error_Handler();
  }

  /** Enable the Alarm A
  */
  sAlarm.AlarmTime.Hours = 12;
  sAlarm.AlarmTime.Minutes = 0;
  sAlarm.AlarmTime.Seconds = 0;
  sAlarm.Alarm = RTC_ALARM_A;
  if (HAL_RTC_SetAlarm_IT(&hrtc, &sAlarm, RTC_FORMAT_BIN) != HAL_OK)
  {
    Error_Handler();
  }

}

static void MX_TIM1_Init(void)
{

  TIM_ClockConfigTypeDef sClockSourceConfig = {0};
  TIM_MasterConfigTypeDef sMasterConfig = {0};

  htim1.Instance = TIM1;
  htim1.Init.Prescaler = 72-1;
  htim1.Init.CounterMode = TIM_COUNTERMODE_UP;
  htim1.Init.Period = 65535-1;
  htim1.Init.ClockDivision = TIM_CLOCKDIVISION_DIV1;
  htim1.Init.RepetitionCounter = 0;
  htim1.Init.AutoReloadPreload = TIM_AUTORELOAD_PRELOAD_DISABLE;
  if (HAL_TIM_Base_Init(&htim1) != HAL_OK)
  {
    Error_Handler();
  }
  sClockSourceConfig.ClockSource = TIM_CLOCKSOURCE_INTERNAL;
  if (HAL_TIM_ConfigClockSource(&htim1, &sClockSourceConfig) != HAL_OK)
  {
    Error_Handler();
  }
  sMasterConfig.MasterOutputTrigger = TIM_TRGO_RESET;
  sMasterConfig.MasterSlaveMode = TIM_MASTERSLAVEMODE_DISABLE;
  if (HAL_TIMEx_MasterConfigSynchronization(&htim1, &sMasterConfig) != HAL_OK)
  {
    Error_Handler();
  }

}

static void MX_USART1_UART_Init(void)
{

  huart1.Instance = USART1;
  huart1.Init.BaudRate = 115200;
  huart1.Init.WordLength = UART_WORDLENGTH_8B;
  huart1.Init.StopBits = UART_STOPBITS_1;
  huart1.Init.Parity = UART_PARITY_NONE;
  huart1.Init.Mode = UART_MODE_TX_RX;
  huart1.Init.HwFlowCtl = UART_HWCONTROL_NONE;
  huart1.Init.OverSampling = UART_OVERSAMPLING_16;
  if (HAL_UART_Init(&huart1) != HAL_OK)
  {
    Error_Handler();
  }

}

static void MX_USART2_UART_Init(void)
{

  huart2.Instance = USART2;
  huart2.Init.BaudRate = 115200;
  huart2.Init.WordLength = UART_WORDLENGTH_8B;
  huart2.Init.StopBits = UART_STOPBITS_1;
  huart2.Init.Parity = UART_PARITY_NONE;
  huart2.Init.Mode = UART_MODE_TX_RX;
  huart2.Init.HwFlowCtl = UART_HWCONTROL_NONE;
  huart2.Init.OverSampling = UART_OVERSAMPLING_16;
  if (HAL_UART_Init(&huart2) != HAL_OK)
  {
    Error_Handler();
  }

}

static void MX_GPIO_Init(void)
{
  GPIO_InitTypeDef GPIO_InitStruct = {0};

  /* GPIO Ports Clock Enable */
  __HAL_RCC_GPIOC_CLK_ENABLE();
  __HAL_RCC_GPIOD_CLK_ENABLE();
  __HAL_RCC_GPIOA_CLK_ENABLE();
  __HAL_RCC_GPIOB_CLK_ENABLE();

  /*Configure GPIO pin Output Level */
  HAL_GPIO_WritePin(GPIOA, LOCK_Pin|VALVE_Pin, GPIO_PIN_RESET);

  /*Configure GPIO pin Output Level */
  HAL_GPIO_WritePin(DAEGUN_LOAD_GPIO_Port, DAEGUN_LOAD_Pin, GPIO_PIN_SET);

  /*Configure GPIO pin Output Level */
  HAL_GPIO_WritePin(GPIOB, DEVICE_Pin|LED_Pin|Door_IN1_Pin|Door_IN2_Pin
                          |U_Trig_Pin|LC_SCK_Pin, GPIO_PIN_RESET);

  /*Configure GPIO pins : LOCK_Pin VALVE_Pin */
  GPIO_InitStruct.Pin = LOCK_Pin|VALVE_Pin;
  GPIO_InitStruct.Mode = GPIO_MODE_OUTPUT_PP;
  GPIO_InitStruct.Pull = GPIO_NOPULL;
  GPIO_InitStruct.Speed = GPIO_SPEED_FREQ_LOW;
  HAL_GPIO_Init(GPIOA, &GPIO_InitStruct);

  /*Configure GPIO pin : DAEGUN_LOAD_Pin */
  GPIO_InitStruct.Pin = DAEGUN_LOAD_Pin;
  GPIO_InitStruct.Mode = GPIO_MODE_OUTPUT_OD;
  GPIO_InitStruct.Pull = GPIO_NOPULL;
  GPIO_InitStruct.Speed = GPIO_SPEED_FREQ_LOW;
  HAL_GPIO_Init(DAEGUN_LOAD_GPIO_Port, &GPIO_InitStruct);

  /*Configure GPIO pin : DEVICE_Pin */
  GPIO_InitStruct.Pin = DEVICE_Pin;
  GPIO_InitStruct.Mode = GPIO_MODE_OUTPUT_OD;
  GPIO_InitStruct.Pull = GPIO_PULLUP;
  GPIO_InitStruct.Speed = GPIO_SPEED_FREQ_LOW;
  HAL_GPIO_Init(DEVICE_GPIO_Port, &GPIO_InitStruct);

  /*Configure GPIO pins : LED_Pin Door_IN1_Pin Door_IN2_Pin U_Trig_Pin
                           LC_SCK_Pin */
  GPIO_InitStruct.Pin = LED_Pin|Door_IN1_Pin|Door_IN2_Pin|U_Trig_Pin
                          |LC_SCK_Pin;
  GPIO_InitStruct.Mode = GPIO_MODE_OUTPUT_PP;
  GPIO_InitStruct.Pull = GPIO_NOPULL;
  GPIO_InitStruct.Speed = GPIO_SPEED_FREQ_LOW;
  HAL_GPIO_Init(GPIOB, &GPIO_InitStruct);

  /*Configure GPIO pin : EXTI_Wakeup_Pin */
  GPIO_InitStruct.Pin = EXTI_Wakeup_Pin;
  GPIO_InitStruct.Mode = GPIO_MODE_IT_RISING;
  GPIO_InitStruct.Pull = GPIO_NOPULL;
  HAL_GPIO_Init(EXTI_Wakeup_GPIO_Port, &GPIO_InitStruct);

  /*Configure GPIO pin : U_Echo_Pin */
  GPIO_InitStruct.Pin = U_Echo_Pin;
  GPIO_InitStruct.Mode = GPIO_MODE_INPUT;
  GPIO_InitStruct.Pull = GPIO_PULLDOWN;
  HAL_GPIO_Init(U_Echo_GPIO_Port, &GPIO_InitStruct);

  /*Configure GPIO pins : LC_Data1_Pin LC_Data2_Pin */
  GPIO_InitStruct.Pin = LC_Data1_Pin|LC_Data2_Pin;
  GPIO_InitStruct.Mode = GPIO_MODE_INPUT;
  GPIO_InitStruct.Pull = GPIO_PULLUP;
  HAL_GPIO_Init(GPIOB, &GPIO_InitStruct);

  /* EXTI interrupt init*/
  HAL_NVIC_SetPriority(EXTI9_5_IRQn, 0, 0);
  HAL_NVIC_EnableIRQ(EXTI9_5_IRQn);

}

/* USER CODE BEGIN 4 */
void HAL_UARTEx_RxEventCallback(UART_HandleTypeDef *huart, uint16_t Size){
	// LOG UART Handle
	if (huart->Instance == USART1) {
		LOG_DataValid = true;
		HAL_UARTEx_ReceiveToIdle_IT(&huart1, LOG_buffer, UART_RX_BUFFER_SIZE);
	}
	// SIMCom UART Handle
	if (huart->Instance == USART2) {
		SIM_DataValid = true; // Set the flag to indicate valid SIM data
		HAL_UARTEx_ReceiveToIdle_IT(&huart2, SIM_buffer, UART_RX_BUFFER_SIZE);
	}
}

// void USB_CDC_RxHandler(uint8_t* Buf, uint32_t Len)
// {
// 	LOG_DataValid = true;
// 	memcpy(LOG_buffer, Buf, Len);
// }

void HAL_GPIO_EXTI_Callback(uint16_t GPIO_Pin)
{
	if((GPIO_Pin == GPIO_PIN_8) && flag_EXTI)
	{
		HAL_UARTEx_ReceiveToIdle_IT(&huart1, LOG_buffer, UART_RX_BUFFER_SIZE);
		LOG_DataValid = true;
		FUNCTION = EXTI_WAKEUP;
	}
}

void HAL_RTC_AlarmAEventCallback(RTC_HandleTypeDef *hrtc)
{
	LOG_DataValid = true;
	FUNCTION = ALARM_WAKEUP;
	Set_RTC(0, 0, 0); //(Hour, Minute, Second)
}
/* USER CODE END 4 */

void Error_Handler(void)
{
  __disable_irq();
  while (1)
  {
  }
}
